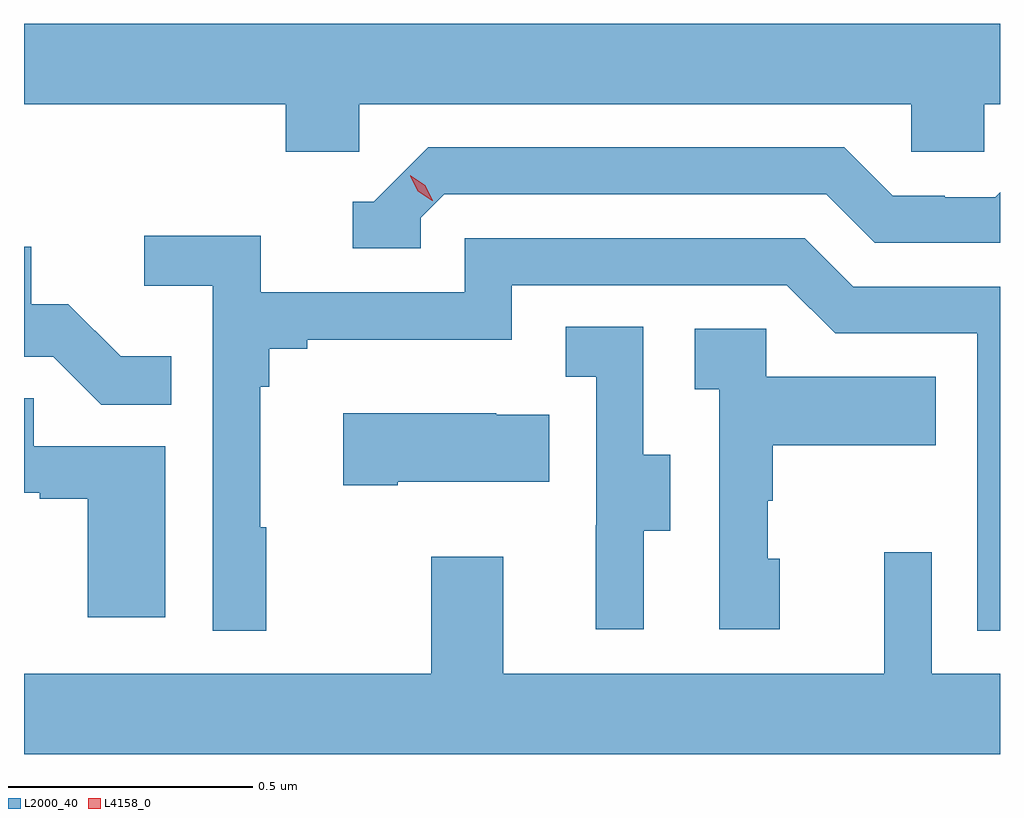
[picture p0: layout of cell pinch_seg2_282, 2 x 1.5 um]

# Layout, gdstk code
import gdstk
lib = gdstk.Library(unit=1e-6, precision=1e-09)
def P(c, l, *ps):  # polygons
    for p in ps: c.add(gdstk.Polygon(p, *l))
L2000_40 = (2000, 40)
L4158_0 = (4158, 0)

pinch_seg2_282 = lib.new_cell('pinch_seg2_282')
P(pinch_seg2_282, L2000_40, [(897.834,655.628),(898.965,655.628),(898.965,655.53),(899.115,655.53),(899.115,655.628),(899.147,655.628),(899.147,655.792),(897.147,655.792),(897.147,655.628),(897.683,655.628),(897.683,655.53),(897.834,655.53)],
  [(897.96,655.395),(898.008,655.443),(898.791,655.443),(898.89,655.344),(899.147,655.344),(899.147,655.447),(899.137,655.437),(899.034,655.437),(899.034,655.44),(898.927,655.44),(898.828,655.539),(897.975,655.539),(897.864,655.428),(897.821,655.428),(897.821,655.332),(897.96,655.332)],
  [(897.643,654.761),(897.631,654.761),(897.631,655.049),(897.65,655.049),(897.65,655.126),(897.727,655.126),(897.727,655.145),(898.146,655.145),(898.146,655.257),(898.71,655.257),(898.809,655.158),(899.1,655.158),(899.1,654.549),(899.147,654.549),(899.147,655.254),(898.846,655.254),(898.747,655.353),(898.05,655.353),(898.05,655.242),(897.632,655.242),(897.632,655.358),(897.393,655.358),(897.393,655.256),(897.534,655.256),(897.534,654.549),(897.643,654.549)],
  [(897.449,655.111),(897.345,655.111),(897.238,655.218),(897.162,655.218),(897.162,655.335),(897.147,655.335),(897.147,655.11),(897.207,655.11),(897.305,655.012),(897.449,655.012)],
  [(898.417,654.754),(898.471,654.754),(898.471,654.909),(898.416,654.909),(898.416,655.172),(898.257,655.172),(898.257,655.069),(898.32,655.069),(898.32,654.765),(898.319,654.765),(898.319,654.552),(898.417,654.552)],
  [(898.696,654.696),(898.671,654.696),(898.671,654.815),(898.681,654.815),(898.681,654.929),(899.015,654.929),(899.015,655.069),(898.668,655.069),(898.668,655.167),(898.521,655.167),(898.521,655.043),(898.572,655.043),(898.572,654.552),(898.696,654.552)],
  [(897.436,654.927),(897.167,654.927),(897.167,655.025),(897.147,655.025),(897.147,654.831),(897.179,654.831),(897.179,654.819),(897.278,654.819),(897.278,654.576),(897.436,654.576)],
  [(897.913,654.854),(898.223,654.854),(898.223,654.991),(898.115,654.991),(898.115,654.994),(897.801,654.994),(897.801,654.847),(897.913,654.847)],
  [(899.147,654.46),(899.007,654.46),(899.007,654.709),(898.91,654.709),(898.91,654.46),(898.129,654.46),(898.129,654.7),(897.982,654.7),(897.982,654.46),(897.147,654.46),(897.147,654.296),(899.147,654.296)])
P(pinch_seg2_282, L4158_0, [(897.984,655.43),(897.954,655.449),(897.938,655.481),(897.938,655.482),(897.938,655.482),(897.969,655.462),(897.985,655.43),(897.985,655.43)])

lib.write_gds('pinch_seg2_282.gds')
